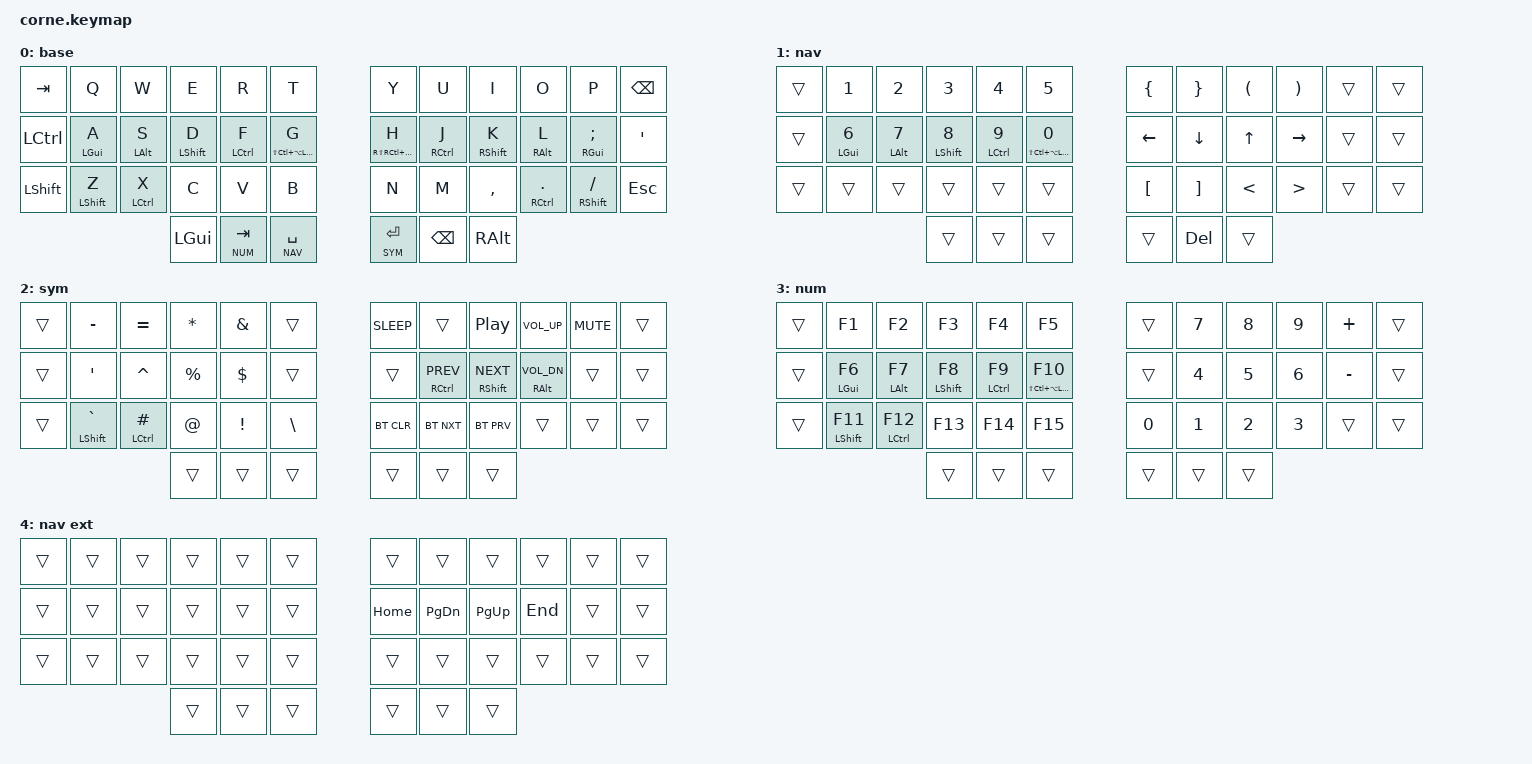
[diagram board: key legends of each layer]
/*
 * Copyright (c) 2020 The ZMK Contributors
 *
 * SPDX-License-Identifier: MIT
 */

#include <behaviors.dtsi>
#include <dt-bindings/zmk/keys.h>
#include <dt-bindings/zmk/bt.h>

#define BASE 0
#define NAV 1
#define SYM 2
#define NUM 3
#define NAV_EXT 4

/ {
  combos {
    compatible = "zmk,combos";
    combo_esc {
      timeout-ms = <50>;
      key-positions = <1 2>;
      bindings = <&kp ESC>;
    };
    combo_caps_word {
      timeout-ms = <50>;
      key-positions = <25 26>;
      bindings = <&caps_word>;
    };
    combo_nav_ext {
      timeout-ms = <50>;
      key-positions = <37 38>;
      bindings = <&mo NAV_EXT>;
    };
  };

  keymap {
    compatible = "zmk,keymap";

    base_layer {
      label = "base";
      bindings = <
        &kp TAB   &kp Q &kp W &kp E &kp R &kp T   &kp Y &kp U  &kp I     &kp O   &kp P    &kp BSPC
        &kp LCTRL &mt LGUI A &mt LALT S &mt LSHIFT D &mt LCTRL F &mt LS(LC(LA(LGUI))) G   &mt RS(RC(RA(RGUI))) H &mt RCTRL J  &mt RSHFT K &mt RALT L &mt RGUI SEMI &kp SQT
        &kp LSHFT &mt LSHFT Z &mt LCTRL X &kp C &kp V &kp B   &kp N &kp M  &kp COMMA &mt RCTRL DOT &mt RSHFT FSLH &kp ESC
                &kp LGUI &lt NUM TAB &lt NAV SPACE    &lt SYM ENTER &kp BACKSPACE &kp RALT
      >;
    };
    nav_layer {
      label = "nav";

      bindings = <
        &trans  &kp N1  &kp N2  &kp N3  &kp N4  &kp N5     &kp LEFT_BRACE  &kp RIGHT_BRACE  &kp LEFT_PARENTHESIS  &kp RIGHT_PARENTHESIS  &trans &trans
        &trans  &mt LGUI N6 &mt LALT N7 &mt LSHIFT N8 &mt LCTRL N9  &mt LS(LC(LA(LGUI))) N0      &kp LEFT  &kp DOWN  &kp UP  &kp RIGHT  &trans  &trans
        &trans  &trans  &trans  &trans  &trans  &trans     &kp LEFT_BRACKET  &kp RIGHT_BRACKET  &kp LESS_THAN  &kp GREATER_THAN &trans  &trans
                                &trans  &trans  &trans     &trans  &kp DELETE  &trans
      >;
    };
    sym_layer {
      label = "sym";
      bindings = <
        &trans  &kp MINUS  &kp EQUAL  &kp ASTERISK  &kp AMPERSAND  &trans          &kp C_SLEEP  &trans  &kp C_PLAY_PAUSE  &kp C_VOL_UP  &kp C_MUTE  &trans
        &trans &kp SINGLE_QUOTE  &kp CARET  &kp PERCENT  &kp DOLLAR  &trans          &trans  &mt RCTRL C_PREV  &mt RSHFT C_NEXT &mt RALT C_VOL_DN  &trans  &trans
        &trans &mt LSHIFT GRAVE  &mt LCTRL HASH  &kp AT  &kp EXCLAMATION  &kp BACKSLASH          &bt BT_CLR  &bt BT_NXT  &bt BT_PRV  &trans &trans  &trans
                                &trans  &trans  &trans          &trans  &trans  &trans
      >;
    };
    num_layer {
      label = "num";
      bindings = <
        &trans  &kp F1  &kp F2  &kp F3  &kp F4  &kp F5          &trans  &kp N7  &kp N8  &kp N9  &kp PLUS  &trans
        &trans  &mt LGUI F6  &mt LALT  F7  &mt LSHIFT  F8  &mt LCTRL F9  &mt LS(LC(LA(LGUI))) F10          &trans  &kp N4  &kp N5  &kp N6  &kp MINUS  &trans
        &trans  &mt LSHIFT F11  &mt LCTRL F12  &kp F13  &kp F14  &kp F15          &kp N0   &kp N1  &kp N2  &kp N3  &trans  &trans
                                &trans  &trans  &trans          &trans  &trans  &trans
      >;
     };
    nav_ext_layer {
      label = "nav ext";

      bindings = <
        &trans  &trans  &trans  &trans  &trans  &trans     &trans  &trans  &trans  &trans &trans  &trans
        &trans  &trans  &trans  &trans  &trans  &trans     &kp HOME  &kp PAGE_DOWN  &kp PAGE_UP  &kp END &trans  &trans
        &trans  &trans  &trans  &trans  &trans  &trans     &trans  &trans  &trans  &trans &trans  &trans
                                &trans  &trans  &trans     &trans  &trans  &trans
      >;
    };
    //  sys_layer {
    //     bindings = <
    //     &trans  &trans  &trans  &trans  &trans  &trans          &kp C_SLEEP  &trans  &kp C_PLAY_PAUSE  &kp C_VOL_UP  &kp C_MUTE  &trans
    //     &trans  &trans  &trans  &trans  &trans  &trans          &trans  &trans  &trans &kp C_VOL_DN  &trans  &trans  
    //     &trans  &trans  &trans  &trans  &trans  &trans          &bt BT_CLR  &bt BT_NXT  &bt BT_PRV  &trans &trans  &trans
    //                             &trans  &trans  &trans          &trans  &trans  &trans
    //   >;
    //  };
  };
};


// original keymap
// / {
//         keymap {
//                 compatible = "zmk,keymap";

//                 default_layer {
// // -----------------------------------------------------------------------------------------
// // |  TAB |  Q  |  W  |  E  |  R  |  T  |   |  Y  |  U   |  I  |  O  |  P  | BKSP |
// // | CTRL |  A  |  S  |  D  |  F  |  G  |   |  H  |  J   |  K  |  L  |  ;  |  '   |
// // | SHFT |  Z  |  X  |  C  |  V  |  B  |   |  N  |  M   |  ,  |  .  |  /  | ESC  |
// //                    | GUI | LWR | SPC |   | ENT | RSE  | ALT |
//                         bindings = <
//    &kp TAB   &kp Q &kp W &kp E &kp R &kp T   &kp Y &kp U  &kp I     &kp O   &kp P    &kp BSPC
//    &kp LCTRL &kp A &kp S &kp D &kp F &kp G   &kp H &kp J  &kp K     &kp L   &kp SEMI &kp SQT
//    &kp LSHFT &kp Z &kp X &kp C &kp V &kp B   &kp N &kp M  &kp COMMA &kp DOT &kp FSLH &kp ESC
//                   &kp LGUI &mo 1 &kp SPACE   &kp RET &mo 2 &kp RALT
//                         >;
//                 };
//                 lower_layer {
// // -----------------------------------------------------------------------------------------
// // |  TAB |  1  |  2  |  3  |  4  |  5  |   |  6  |  7  |  8  |  9  |  0  | BKSP |
// // | BTCLR| BT1 | BT2 | BT3 | BT4 | BT5 |   | LFT | DWN |  UP | RGT |     |      |
// // | SHFT |     |     |     |     |     |   |     |     |     |     |     |      |
// //                    | GUI |     | SPC |   | ENT |     | ALT |
//                         bindings = <
//    &kp TAB    &kp N1       &kp N2       &kp N3       &kp N4       &kp N5         &kp N6   &kp N7   &kp N8 &kp N9    &kp N0 &kp BSPC
//    &bt BT_CLR &bt BT_SEL 0 &bt BT_SEL 1 &bt BT_SEL 2 &bt BT_SEL 3 &bt BT_SEL 4   &kp LEFT &kp DOWN &kp UP &kp RIGHT &trans &trans
//    &kp LSHFT  &trans       &trans       &trans       &trans       &trans         &trans   &trans   &trans &trans    &trans &trans
//                           	        &kp LGUI     &trans       &kp SPACE      &kp RET  &trans   &kp RALT
//                         >;
//                 };

//                 raise_layer {
// // -----------------------------------------------------------------------------------------
// // |  TAB |  !  |  @  |  #  |  $  |  %  |   |  ^  |  &  |  *  |  (  |  )  | BKSP |
// // | CTRL |     |     |     |     |     |   |  -  |  =  |  [  |  ]  |  \  |  `   |
// // | SHFT |     |     |     |     |     |   |  _  |  +  |  {  |  }  | "|" |  ~   |
// //                    | GUI |     | SPC |   | ENT |     | ALT |
//                         bindings = <
//    &kp  TAB  &kp EXCL &kp AT &kp HASH &kp DLLR &kp PRCNT   &kp CARET &kp AMPS  &kp KP_MULTIPLY &kp LPAR &kp RPAR &kp BSPC
//    &kp LCTRL &trans   &trans &trans   &trans   &trans      &kp MINUS &kp EQUAL &kp LBKT        &kp RBKT &kp BSLH &kp GRAVE
//    &kp LSHFT &trans   &trans &trans   &trans   &trans      &kp UNDER &kp PLUS  &kp LBRC        &kp RBRC &kp PIPE &kp TILDE
//                     	     &kp LGUI &trans   &kp SPACE   &kp RET   &trans    &kp RALT
//                         >;
//                 };
//         };
// };
